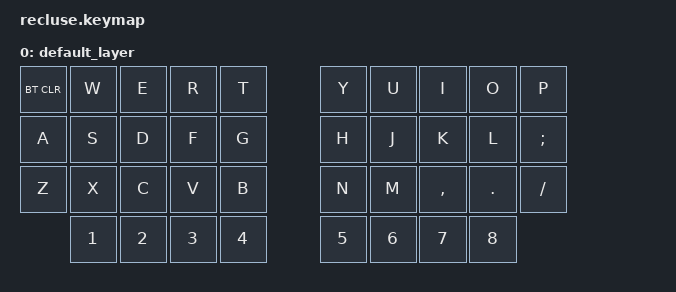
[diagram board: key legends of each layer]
#include <behaviors.dtsi>
#include <dt-bindings/zmk/keys.h>
#include <dt-bindings/zmk/bt.h>

/ {
    keymap {
        compatible = "zmk,keymap";
                
       	default_layer {
			bindings = <
				&bt BT_CLR &kp W    &kp E     &kp R     &kp T                                           &kp Y     &kp U     &kp I     &kp O     &kp P    
			    &kp A    &kp S    &kp D     &kp F     &kp G                                           &kp H     &kp J     &kp K     &kp L     &kp SEMI 
			    &kp Z    &kp X    &kp C     &kp V     &kp B                                           &kp N     &kp M     &kp COMMA &kp DOT   &kp FSLH 
                                 &kp 1  &kp 2   &kp 3    &kp 4         						&kp 5 &kp 6   &kp 7  &kp 8	
		>;
		};
    };
};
